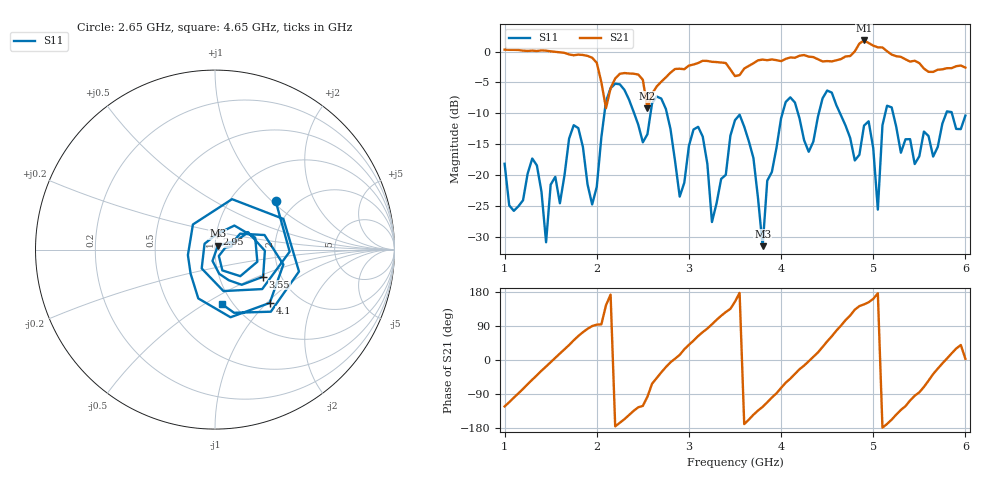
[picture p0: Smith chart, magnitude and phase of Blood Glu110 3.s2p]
! NanoVNA-App
! Date: 2024-03-21 14:25:36
! Start: 1GHz Stop: 6GHz Points: 101
! S-Parameter data: F S11 S21 S12 S22
# Hz S RI R 50
!	Frequency	S11_Real	S11_Imag	S21_Real	S21_Imag	S12_Real	S12_Imag	S22_Real	S22_Imag
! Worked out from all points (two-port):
!   101 points, 1 GHz to 6 GHz, reference 50 ohm
!   highest |S21| = 1.81 dB at 4.9 GHz (marker M1); lowest = -9.2 dB at 2.55 GHz (marker M2)
!   |S21| within 3 dB of the highest: start of sweep to 1.962 GHz; 4.652 GHz to 5.342 GHz (690.4 MHz wide, 13.8 % of centre)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
!   lowest |S11| = -31.6 dB at 3.8 GHz (marker M3), VSWR 1.05, Z = 51.6 + j2.19 ohm
!   |S11| at or under -10 dB: start of sweep to 2.083 GHz; 2.761 GHz to 4.016 GHz (1.255 GHz wide, 37 % of centre); 5.215 GHz to 5.792 GHz (577.3 MHz wide, 10.5 % of centre)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
!   S12 and S22 are empty: the file has one direction only
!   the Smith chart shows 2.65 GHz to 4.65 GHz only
!   S11 on the Smith chart (normalised r, x): 2.65 GHz: 1.59, +1.06; 2.95 GHz: 1.00, +0.17; 3.55 GHz: 1.62, -0.54; 4.1 GHz: 1.43, -1.04; 4.65 GHz: 0.89, -0.59
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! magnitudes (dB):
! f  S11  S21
! 1 GHz  -18.2  0.3
! 1.35 GHz  -18.4  0.1
! 1.45 GHz  -30.9  0.2
! 1.85 GHz  -15.5  -0.5
! 1.95 GHz  -24.8  -1.0
! 2.15 GHz  -5.9  -5.9
! 2.55 GHz  -13.4  -9.2
! 2.65 GHz  -7.3  -5.7
! 2.7 GHz  -7.6  -4.9
! 2.95 GHz  -21.3  -2.9
! 3.1 GHz  -12.2  -1.8
! 3.25 GHz  -27.6  -1.7
! 3.5 GHz  -11.1  -4.0
! 3.55 GHz  -10.2  -3.8
! 3.8 GHz  -31.6  -1.3
! 4.1 GHz  -7.4  -1.0
! 4.35 GHz  -14.6  -0.9
! 4.65 GHz  -10.3  -1.2
! 4.9 GHz  -12.0  1.8
! 5.05 GHz  -25.6  0.7
! 5.2 GHz  -9.0  -0.5
! 6 GHz  -10.4  -2.6
